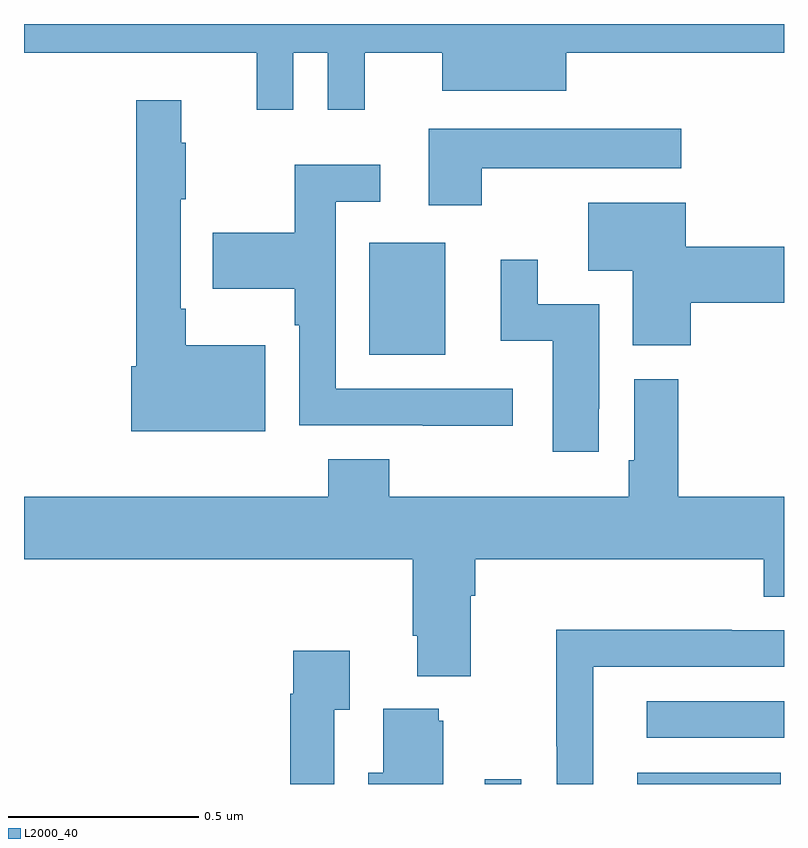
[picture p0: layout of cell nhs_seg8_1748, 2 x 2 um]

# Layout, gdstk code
import gdstk
lib = gdstk.Library(unit=1e-6, precision=1e-09)
def R(c, l, rs):  # rectangles x0, y0, x1, y1
    for r in rs: c.add(gdstk.rectangle(r[:2], r[2:], *l))
def P(c, l, *ps):  # polygons
    for p in ps: c.add(gdstk.Polygon(p, *l))
L2000_40 = (2000, 40)

nhs_seg8_1748 = lib.new_cell('nhs_seg8_1748')
R(nhs_seg8_1748, L2000_40, [(135.213,1123.9,135.309,1123.912), (135.614,1123.9,135.992,1123.93), (135.639,1124.022,136,1124.118), (134.909,1125.029,135.109,1125.325)])
P(nhs_seg8_1748, L2000_40, [(134.709,1125.824),(134.799,1125.824),(134.799,1125.675),(134.897,1125.675),(134.897,1125.824),(135.101,1125.824),(135.101,1125.725),(135.427,1125.725),(135.427,1125.824),(136,1125.824),(136,1125.9),(134,1125.9),(134,1125.824),(134.612,1125.824),(134.612,1125.675),(134.709,1125.675)],
  [(134.635,1125.055),(134.425,1125.055),(134.425,1125.151),(134.412,1125.151),(134.412,1125.439),(134.425,1125.439),(134.425,1125.587),(134.414,1125.587),(134.414,1125.7),(134.296,1125.7),(134.296,1124.999),(134.282,1124.999),(134.282,1124.828),(134.635,1124.828)],
  [(135.205,1125.521),(135.73,1125.521),(135.73,1125.625),(135.065,1125.625),(135.065,1125.423),(135.205,1125.423)],
  [(135.286,1124.94),(134.82,1124.94),(134.82,1125.432),(134.938,1125.432),(134.938,1125.529),(134.712,1125.529),(134.712,1125.351),(134.497,1125.351),(134.497,1125.203),(134.712,1125.203),(134.712,1125.107),(134.724,1125.107),(134.724,1124.844),(135.049,1124.844),(135.049,1124.843),(135.286,1124.843)],
  [(135.755,1125.167),(136,1125.167),(136,1125.314),(135.742,1125.314),(135.742,1125.43),(135.485,1125.43),(135.485,1125.251),(135.602,1125.251),(135.602,1125.054),(135.755,1125.054)],
  [(135.513,1124.887),(135.514,1124.887),(135.514,1125.162),(135.352,1125.162),(135.352,1125.28),(135.254,1125.28),(135.254,1125.066),(135.392,1125.066),(135.392,1124.775),(135.513,1124.775)],
  [(135.175,1124.396),(135.188,1124.396),(135.188,1124.492),(135.947,1124.492),(135.947,1124.393),(136,1124.393),(136,1124.656),(135.722,1124.656),(135.722,1124.965),(135.606,1124.965),(135.606,1124.752),(135.591,1124.752),(135.591,1124.656),(134.961,1124.656),(134.961,1124.755),(134.801,1124.755),(134.801,1124.656),(134,1124.656),(134,1124.492),(135.023,1124.492),(135.023,1124.29),(135.035,1124.29),(135.035,1124.183),(135.175,1124.183)],
  [(135.498,1124.208),(136,1124.208),(136,1124.304),(135.863,1124.304),(135.863,1124.306),(135.4,1124.306),(135.4,1123.999),(135.402,1123.999),(135.402,1123.9),(135.498,1123.9)],
  [(134.817,1124.095),(134.857,1124.095),(134.857,1124.251),(134.709,1124.251),(134.709,1124.138),(134.701,1124.138),(134.701,1123.9),(134.817,1123.9)],
  [(135.103,1124.067),(135.092,1124.067),(135.092,1124.098),(134.945,1124.098),(134.945,1123.93),(134.906,1123.93),(134.906,1123.9),(135.103,1123.9)])

lib.write_gds('nhs_seg8_1748.gds')
